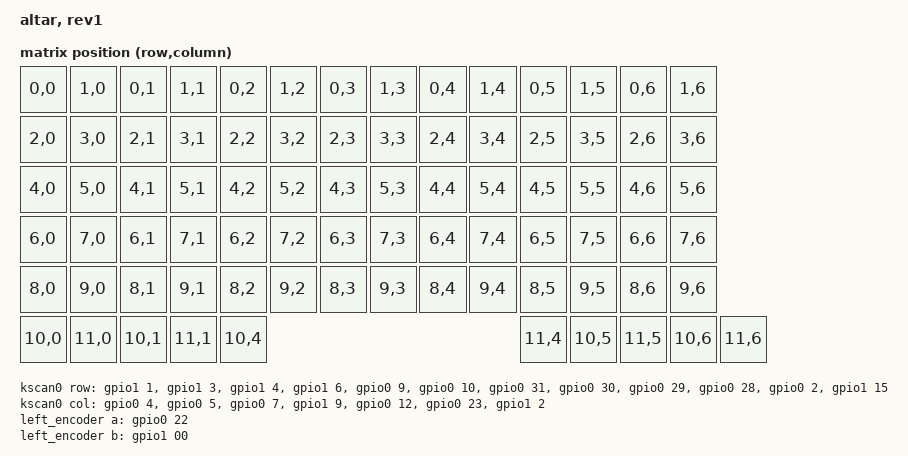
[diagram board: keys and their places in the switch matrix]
/*
 * Copyright (c) 2020 The ZMK Contributors
 *
 * SPDX-License-Identifier: MIT
 */

/dts-v1/;
#include <nordic/nrf52840_qiaa.dtsi>

#include <dt-bindings/led/led.h>
#include <dt-bindings/zmk/matrix_transform.h>

/ {
	model = "altar, rev1";
	compatible = "altar, rev1";

	chosen {
		zephyr,code-partition = &code_partition;
		zephyr,sram = &sram0;
		zephyr,flash = &flash0;
		zmk,battery = &vbatt;
		zmk,kscan = &kscan0;
		zmk,matrix_transform = &default_transform;
	};

	default_transform: keymap_transform_0 {
		compatible = "zmk,matrix-transform";
		columns = <7>;
		rows = <12>;
		map = <
			RC(0,0)  RC(1,0)  RC(0,1)  RC(1,1)  RC(0,2)  RC(1,2)  RC(0,3)  RC(1,3)  RC(0,4)  RC(1,4)  RC(0,5)  RC(1,5)  RC(0,6)  RC(1,6)
			RC(2,0)  RC(3,0)  RC(2,1)  RC(3,1)  RC(2,2)  RC(3,2)  RC(2,3)  RC(3,3)  RC(2,4)  RC(3,4)  RC(2,5)  RC(3,5)  RC(2,6)  RC(3,6)
			RC(4,0)  RC(5,0)  RC(4,1)  RC(5,1)  RC(4,2)  RC(5,2)  RC(4,3)  RC(5,3)  RC(4,4)  RC(5,4)  RC(4,5)  RC(5,5)  RC(4,6)  RC(5,6)
			RC(6,0)  RC(7,0)  RC(6,1)  RC(7,1)  RC(6,2)  RC(7,2)  RC(6,3)  RC(7,3)  RC(6,4)  RC(7,4)  RC(6,5)  RC(7,5)  RC(6,6)  	              RC(7,6)
			RC(8,0)  RC(9,0)  RC(8,1)  RC(9,1)  RC(8,2)  RC(9,2)  RC(8,3)  RC(9,3)  RC(8,4)  RC(9,4)  RC(8,5)  RC(9,5)  RC(8,6)  RC(9,6)
			RC(10,0) RC(11,0) RC(10,1) RC(11,1)                        RC(10,4)                       RC(11,4) RC(10,5) RC(11,5) RC(10,6) RC(11,6)
		>;
	};

 
	kscan0: kscan {
		compatible = "zmk,kscan-gpio-matrix";
		label = "KSCAN";
		diode-direction = "row2col";
		row-gpios
			= <&gpio1 1  GPIO_ACTIVE_HIGH>
			, <&gpio1 3  GPIO_ACTIVE_HIGH>
			, <&gpio1 4  GPIO_ACTIVE_HIGH>
			, <&gpio1 6  GPIO_ACTIVE_HIGH>
			, <&gpio0 9  GPIO_ACTIVE_HIGH>
			, <&gpio0 10 GPIO_ACTIVE_HIGH>
			, <&gpio0 31 GPIO_ACTIVE_HIGH>
			, <&gpio0 30 GPIO_ACTIVE_HIGH>
			, <&gpio0 29 GPIO_ACTIVE_HIGH>
			, <&gpio0 28 GPIO_ACTIVE_HIGH>
			, <&gpio0 2  GPIO_ACTIVE_HIGH>
			, <&gpio1 15 GPIO_ACTIVE_HIGH>
			;
		col-gpios
			= <&gpio0 4  (GPIO_ACTIVE_HIGH | GPIO_PULL_DOWN)>
			, <&gpio0 5  (GPIO_ACTIVE_HIGH | GPIO_PULL_DOWN)>
			, <&gpio0 7  (GPIO_ACTIVE_HIGH | GPIO_PULL_DOWN)>
			, <&gpio1 9  (GPIO_ACTIVE_HIGH | GPIO_PULL_DOWN)>
			, <&gpio0 12 (GPIO_ACTIVE_HIGH | GPIO_PULL_DOWN)>
			, <&gpio0 23 (GPIO_ACTIVE_HIGH | GPIO_PULL_DOWN)>
			, <&gpio1 2  (GPIO_ACTIVE_HIGH | GPIO_PULL_DOWN)>
			;
	};

	sensors {
    	compatible = "zmk,keymap-sensors";
    	sensors = <&left_encoder>;
	};

	left_encoder: encoder_left {
        compatible = "alps,ec11";
        label = "LEFT_ENCODER";
        a-gpios = <&gpio0 22 (GPIO_ACTIVE_HIGH | GPIO_PULL_UP)>;
        b-gpios = <&gpio1 00 (GPIO_ACTIVE_HIGH | GPIO_PULL_UP)>;
        resolution = <2>;
    };

	vbatt: vbatt {
		compatible = "zmk,battery-voltage-divider";
		label = "VBATT";
		io-channels = <&adc 1>;
		output-ohms = <2000000>;
		full-ohms = <(2000000 + 650000)>;
	};
};

&adc {
	status = "okay";
};

&gpio0 {
	status = "okay";
};

&gpio1 {
	status = "okay";
};

&usbd {
	status = "okay";
};

&flash0 {
	/*
	 * For more information, see:
	 * http://docs.zephyrproject.org/latest/devices/dts/flash_partitions.html
	 */
	partitions {
		compatible = "fixed-partitions";
		#address-cells = <1>;
		#size-cells = <1>;

		sd_partition: partition@0 {
			label = "softdevice";
			reg = <0x00000000 0x00026000>;
		};
		code_partition: partition@26000 {
			label = "code_partition";
			reg = <0x00026000 0x000c6000>;
		};

		/*
		 * The flash starting at 0x000ec000 and ending at
		 * 0x000f3fff is reserved for use by the application.
		 */

		/*
		 * Storage partition will be used by FCB/LittleFS/NVS
		 * if enabled.
		 */
		storage_partition: partition@ec000 {
			label = "storage";
			reg = <0x000ec000 0x00008000>;
		};

		boot_partition: partition@f4000 {
			label = "adafruit_boot";
			reg = <0x000f4000 0x0000c000>;
		};
	};
};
